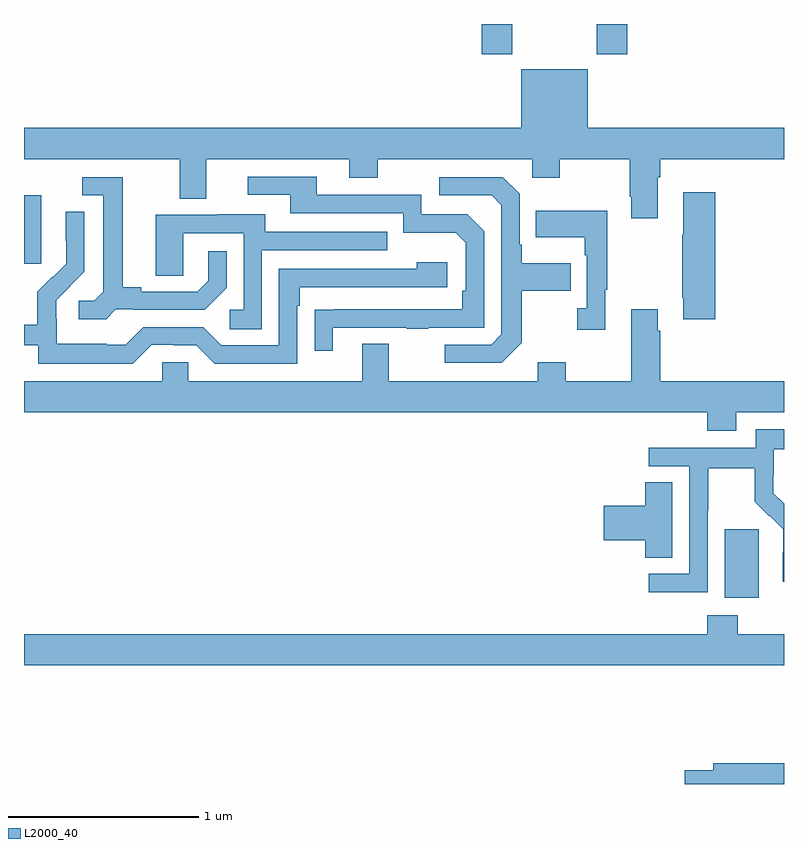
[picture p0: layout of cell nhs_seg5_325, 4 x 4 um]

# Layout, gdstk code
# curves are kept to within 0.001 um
import gdstk
lib = gdstk.Library(unit=1e-6, precision=1e-09)
def R(c, l, rs):  # rectangles x0, y0, x1, y1
    for r in rs: c.add(gdstk.rectangle(r[:2], r[2:], *l))
def P(c, l, *ps):  # polygons
    for p in ps: c.add(gdstk.Polygon(p, *l))
L2000_40 = (2000, 40)

nhs_seg5_325 = lib.new_cell('nhs_seg5_325')
R(nhs_seg5_325, L2000_40, [(134.687,859.778,134.866,860.139), (131,861.537,131.092,861.898), (133.409,862.641,133.569,862.799), (134.014,862.641,134.174,862.799)])
P(nhs_seg5_325, L2000_40, [(134.335,861.992),(134.348,861.992),(134.348,862.088),(135,862.088),(135,862.252),(133.966,862.252),(133.966,862.561),(133.616,862.561),(133.616,862.252),(131,862.252),(131,862.088),(131.819,862.088),(131.819,861.88),(131.959,861.88),(131.959,862.088),(132.713,862.088),(132.713,861.989),(132.861,861.989),(132.861,862.088),(133.674,862.088),(133.674,861.989),(133.821,861.989),(133.821,862.088),(134.188,862.088),(134.188,861.889),(134.195,861.889),(134.195,861.777),(134.335,861.777)],
  [(132.625,861.201),(133.015,861.201),(133.015,861.196),(133.127,861.196),(133.127,861.201),(133.422,861.201),(133.422,861.708),(133.332,861.798),(133.092,861.798),(133.092,861.9),(132.541,861.9),(132.541,861.996),(132.177,861.996),(132.177,861.9),(132.401,861.9),(132.401,861.804),(132.996,861.804),(132.996,861.701),(133.273,861.701),(133.326,861.648),(133.326,861.394),(133.306,861.394),(133.306,861.297),(132.529,861.296),(132.529,861.078),(132.625,861.078)],
  [(131.484,861.297),(131.578,861.297),(131.578,861.294),(131.95,861.294),(132.066,861.41),(132.066,861.604),(131.969,861.604),(131.969,861.447),(131.912,861.39),(131.617,861.39),(131.617,861.413),(131.521,861.413),(131.521,861.993),(131.307,861.993),(131.307,861.897),(131.417,861.897),(131.417,861.389),(131.37,861.342),(131.289,861.342),(131.289,861.245),(131.432,861.245)],
  [(133.621,861.121),(133.621,861.394),(133.877,861.394),(133.877,861.541),(133.621,861.541),(133.621,861.637),(133.608,861.637),(133.608,861.906),(133.521,861.993),(133.185,861.993),(133.185,861.897),(133.461,861.897),(133.512,861.846),(133.512,861.165),(133.458,861.111),(133.215,861.111),(133.215,861.015),(133.515,861.015)],
  [(134.639,861.913),(134.471,861.913),(134.471,861.689),(134.464,861.689),(134.464,861.358),(134.471,861.358),(134.471,861.246),(134.639,861.246)],
  [(134.059,861.401),(134.071,861.401),(134.071,861.817),(133.693,861.817),(133.693,861.677),(133.95,861.677),(133.95,861.581),(133.962,861.581),(133.962,861.302),(133.911,861.302),(133.911,861.189),(134.059,861.189)],
  [(131.673,861.111),(131.789,861.111),(131.789,861.108),(131.907,861.108),(132.003,861.012),(132.438,861.012),(132.438,861.317),(132.451,861.317),(132.451,861.414),(133.228,861.414),(133.228,861.544),(133.067,861.544),(133.067,861.51),(132.342,861.51),(132.342,861.108),(132.039,861.108),(131.943,861.204),(131.628,861.204),(131.535,861.111),(131.435,861.111),(131.435,861.115),(131.172,861.115),(131.172,861.249),(131.17,861.249),(131.17,861.346),(131.316,861.494),(131.316,861.812),(131.22,861.812),(131.22,861.658),(131.222,861.658),(131.222,861.536),(131.151,861.465),(131.148,861.468),(131.071,861.391),(131.071,861.217),(131,861.217),(131,861.108),(131.076,861.108),(131.076,861.011),(131.573,861.011)],
  [(132.252,861.609),(132.911,861.609),(132.911,861.705),(132.271,861.705),(132.271,861.799),(132.017,861.799),(132.017,861.795),(131.693,861.795),(131.693,861.475),(131.838,861.475),(131.838,861.699),(132.156,861.699),(132.156,861.294),(132.084,861.294),(132.084,861.193),(132.252,861.193)],
  [(134.749,860.756),(135,860.756),(135,860.92),(134.348,860.92),(134.348,861.185),(134.335,861.185),(134.335,861.298),(134.195,861.298),(134.195,860.92),(133.851,860.92),(133.851,861.019),(133.703,861.019),(133.703,860.92),(132.919,860.92),(132.919,861.115),(132.779,861.115),(132.779,860.92),(131.865,860.92),(131.865,861.018),(131.727,861.018),(131.727,860.92),(131,860.92),(131,860.756),(134.597,860.756),(134.597,860.657),(134.749,860.657)],
  [(134.598,860.236),(134.601,860.236),(134.601,860.46),(134.845,860.46),(134.845,860.285),(134.922,860.208),(134.925,860.211),(134.996,860.141),(134.996,860.018),(134.994,860.018),(134.994,859.864),(135,859.864),(135,860.274),(134.944,860.33),(134.944,860.427),(134.946,860.427),(134.946,860.561),(135,860.561),(135,860.665),(134.85,860.665),(134.85,860.568),(134.289,860.568),(134.289,860.472),(134.502,860.472),(134.502,859.905),(134.289,859.905),(134.289,859.807),(134.598,859.807)],
  [(134.413,860.387),(134.27,860.387),(134.27,860.264),(134.052,860.264),(134.052,860.081),(134.27,860.081),(134.27,859.99),(134.413,859.99)],
  [(135,859.588),(134.757,859.588),(134.757,859.687),(134.597,859.687),(134.597,859.588),(131,859.588),(131,859.424),(135,859.424)],
  [(135,858.908),(134.627,858.908),(134.627,858.872),(134.478,858.872),(134.478,858.799),(135,858.799)])

lib.write_gds('nhs_seg5_325.gds')
